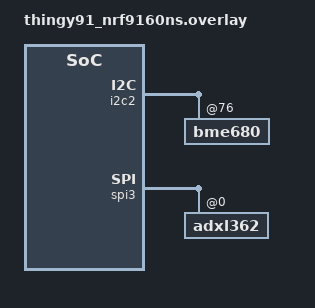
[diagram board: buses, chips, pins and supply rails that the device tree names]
/*
 * Copyright (c) 2021 Nordic Semiconductor ASA
 *
 * SPDX-License-Identifier: LicenseRef-Nordic-5-Clause
 */

/ {
        aliases {
                temp-sensor = &bme680;
                humidity-sensor = &bme680;
                accelerometer = &adxl362;
        };
};

&i2c2 {
        bme680: bme680@76 {};
};

&spi3 {
        adxl362: adxl362@0 {};
};
